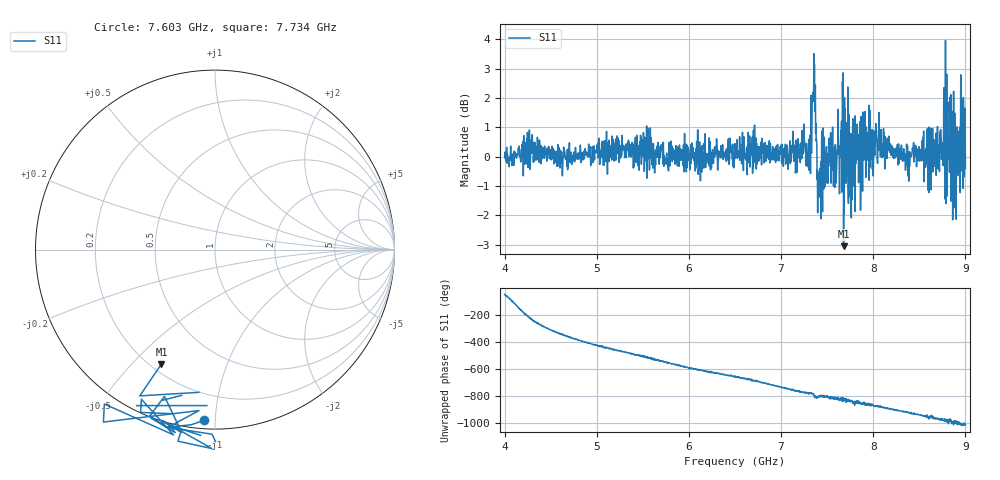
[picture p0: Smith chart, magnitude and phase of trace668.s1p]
! Created with skrf 1.8.0 (http://scikit-rf.org).
# Hz S RI R 50.0
!freq ReS11 ImS11
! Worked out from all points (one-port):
!   1601 points, 4 GHz to 9 GHz, reference 50 ohm
!   lowest |S11| = -3.0 dB at 7.678 GHz (marker M1), VSWR 5.76, Z = 12.1 - j30.5 ohm
!   |S11| at or under -10 dB: nowhere
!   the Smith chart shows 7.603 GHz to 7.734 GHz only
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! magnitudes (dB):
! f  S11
! 4 GHz  0.0
! 4.284 GHz  0.3
! 4.625 GHz  -0.6
! 5.25 GHz  0.3
! 5.875 GHz  -0.3
! 6.5 GHz  0.4
! 7.125 GHz  0.2
! 7.297 GHz  -0.2
! 7.35 GHz  2.0
! 7.366 GHz  1.5
! 7.412 GHz  -1.2
! 7.512 GHz  0.0
! 7.588 GHz  0.4
! 7.65 GHz  0.9
! 7.659 GHz  -1.2
! 7.678 GHz  -3.0
! 7.75 GHz  -1.4
! 7.775 GHz  0.6
! 7.828 GHz  1.0
! 7.859 GHz  1.2
! 8.044 GHz  -0.1
! 8.375 GHz  -0.1
! 8.441 GHz  -0.2
! 8.622 GHz  -0.1
! 8.809 GHz  1.9
! 8.875 GHz  0.3
! 8.972 GHz  0.4
! 9 GHz  -0.4
